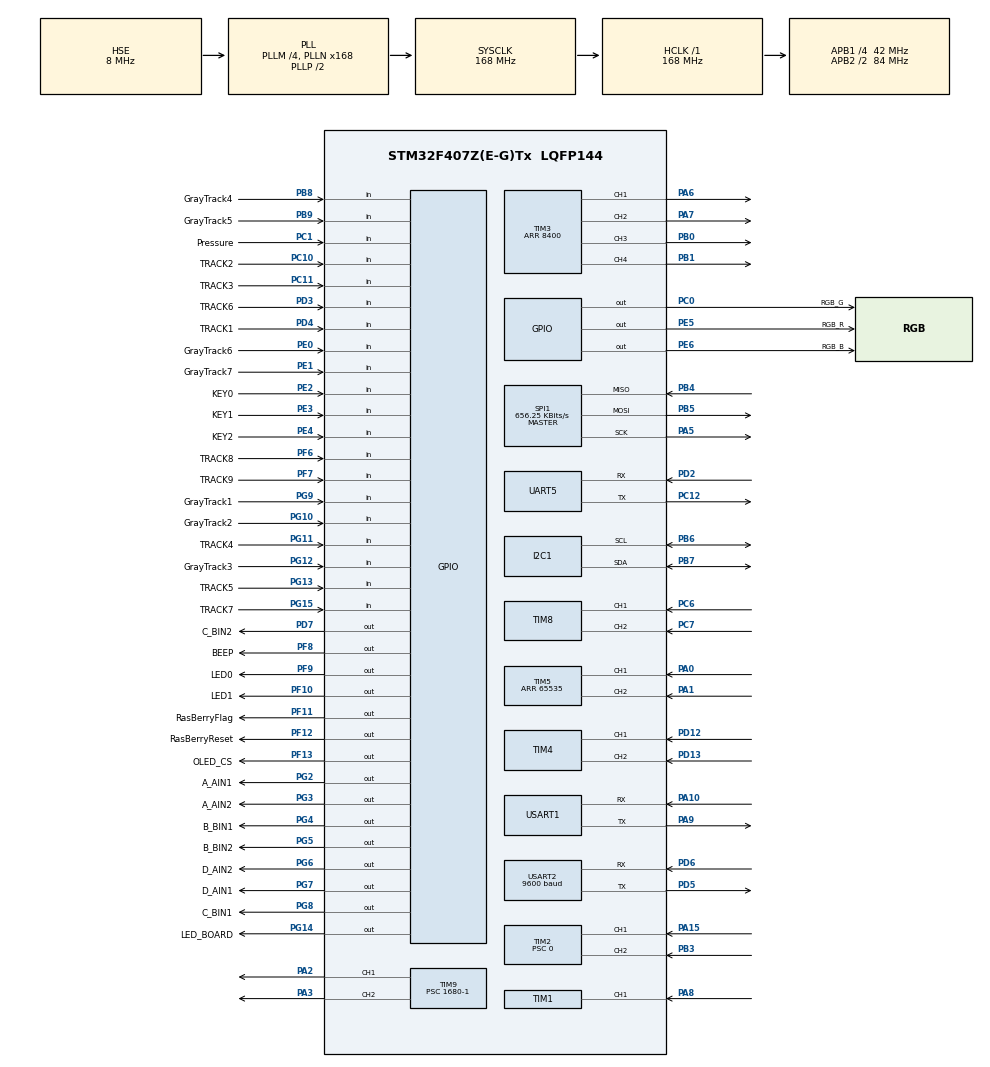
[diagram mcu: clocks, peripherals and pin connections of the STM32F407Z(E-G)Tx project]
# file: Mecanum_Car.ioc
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PG8.GPIO_ModeDefaultOutputPP=GPIO_MODE_OUTPUT_PP
PH0-OSC_IN.Signal=RCC_OSC_IN
PF10.GPIO_ModeDefaultOutputPP=GPIO_MODE_OUTPUT_PP
PG6.PinState=GPIO_PIN_SET
PC10.GPIO_PuPd=GPIO_PULLUP
SPI1.VirtualType=VM_MASTER
PG2.GPIO_PuPd=GPIO_PULLUP
NVIC.TIM6_DAC_IRQn=true\:0\:0\:false\:false\:true\:true\:true
PG8.Signal=GPIO_Output
PG4.Signal=GPIO_Output
PC12.Signal=UART5_TX
PG6.GPIO_Label=D_AIN2
PC0.GPIO_ModeDefaultOutputPP=GPIO_MODE_OUTPUT_PP
PG5.GPIO_ModeDefaultOutputPP=GPIO_MODE_OUTPUT_PP
PF10.GPIO_PuPd=GPIO_PULLDOWN
PG10.GPIO_PuPd=GPIO_PULLUP
PG13.Signal=GPIO_Input
PF8.PinState=GPIO_PIN_RESET
PB3.GPIO_Speed=GPIO_SPEED_FREQ_VERY_HIGH
TIM3.Channel-PWM\ Generation4\ CH4=TIM_CHANNEL_4
PE6.GPIO_Label=RGB_B
PF6.GPIO_Label=TRACK8
Dma.USART2_RX.1.MemDataAlignment=DMA_MDATAALIGN_BYTE
RCC.SYSCLKSource=RCC_SYSCLKSOURCE_PLLCLK
PG13.GPIO_Mode=GPIO_MODE_INPUT
PG15.GPIO_Label=TRACK7
PF7.Signal=GPIO_Input
PD7.GPIO_PuPd=GPIO_PULLUP
SPI1.Direction=SPI_DIRECTION_2LINES
PG14.GPIO_ModeDefaultOutputPP=GPIO_MODE_OUTPUT_PP
PG2.GPIO_ModeDefaultOutputPP=GPIO_MODE_OUTPUT_PP
PD4.Signal=GPIO_Input
RCC.APB2TimFreq_Value=168000000
PB6.Signal=I2C1_SCL
PC7.Signal=S_TIM8_CH2
PB6.Mode=I2C
Dma.USART2_RX.1.PeriphInc=DMA_PINC_DISABLE
SPI1.CalculateBaudRate=656.25 KBits/s
PE5.Signal=GPIO_Output
PE1.Signal=GPIO_Input
PA1.GPIO_PuPd=GPIO_PULLUP
PF10.GPIO_Label=LED1
TIM3.Pulse-PWM\ Generation3\ CH3=2000
PC1.GPIO_PuPd=GPIO_PULLDOWN
PF12.GPIO_Label=RasBerryReset
PG6.GPIO_PuPd=GPIO_PULLUP
PE4.GPIO_Label=KEY2
PG4.GPIO_Label=B_BIN1
PC7.GPIO_ModeDefaultPP=GPIO_MODE_AF_PP
SH.S_TIM4_CH2.0=TIM4_CH2,Encoder_Interface
PE2.Signal=GPIO_Input
PA8.Signal=S_TIM1_CH1
TIM9.Prescaler=1680-1
Mcu.Package=LQFP144
PB9.Signal=GPIO_Input
TIM2.Prescaler=0
PB1.Signal=S_TIM3_CH4
PD12.Signal=S_TIM4_CH1
PA10.Signal=USART1_RX
PB9.GPIO_PuPd=GPIO_PULLUP
PC6.GPIO_PuPd=GPIO_PULLUP
PG8.GPIO_Speed=GPIO_SPEED_FREQ_HIGH
RCC.APB2CLKDivider=RCC_HCLK_DIV2
NVIC.DMA2_Stream2_IRQn=true\:0\:0\:true\:false\:true\:false\:true
SH.S_TIM4_CH1.0=TIM4_CH1,Encoder_Interface
PG12.GPIO_PuPd=GPIO_PULLUP
RCC.APB1TimFreq_Value=84000000
TIM3.Pulse-PWM\ Generation2\ CH2=2000
PD3.GPIO_PuPd=GPIO_PULLUP
PF9.GPIO_PuPd=GPIO_PULLDOWN
NVIC.USART1_IRQn=true\:0\:0\:false\:false\:true\:true\:true
PE6.GPIO_PuPd=GPIO_PULLUP
PE6.GPIO_Speed=GPIO_SPEED_FREQ_VERY_HIGH
PC6.GPIO_Speed=GPIO_SPEED_FREQ_VERY_HIGH
PC0.PinState=GPIO_PIN_RESET
TIM9.Period=100-1
PG6.GPIO_Speed=GPIO_SPEED_FREQ_HIGH
PA5.Mode=Full_Duplex_Master
PG12.Signal=GPIO_Input
TIM9.Channel-PWM\ Generation2\ CH2=TIM_CHANNEL_2
TIM9.Channel-PWM\ Generation1\ CH1=TIM_CHANNEL_1
Dma.USART2_RX.1.Priority=DMA_PRIORITY_LOW
Dma.USART2_RX.1.FIFOMode=DMA_FIFOMODE_DISABLE
TIM3.AutoReloadPreload=TIM_AUTORELOAD_PRELOAD_ENABLE
PG9.GPIO_PuPd=GPIO_PULLUP
PG5.Signal=GPIO_Output
PG9.Signal=GPIO_Input
PD3.Signal=GPIO_Input
PB8.GPIO_PuPd=GPIO_PULLUP
PC6.Signal=S_TIM8_CH1
PD7.Signal=GPIO_Output
PE1.GPIO_PuPd=GPIO_PULLUP
UART5.VirtualMode=Asynchronous
PC0.Signal=GPIO_Output
RCC.APB1CLKDivider=RCC_HCLK_DIV4
PD6.Mode=Asynchronous
PF13.GPIO_Label=OLED_CS
PG13.GPIO_Label=TRACK5
Dma.UART5_RX.2.MemInc=DMA_MINC_ENABLE
USART2.BaudRate=9600
SH.S_TIM8_CH2.0=TIM8_CH2,Encoder_Interface
PA0-WKUP.Signal=S_TIM5_CH1
PG10.Signal=GPIO_Input
PF8.GPIO_Label=BEEP
PG8.GPIO_PuPd=GPIO_PULLUP
TIM9.Pulse-PWM\ Generation2\ CH2=500
PF11.GPIO_Speed=GPIO_SPEED_FREQ_VERY_HIGH
TIM3.Channel-PWM\ Generation3\ CH3=TIM_CHANNEL_3
PC10.GPIO_Mode=GPIO_MODE_INPUT
PB8.GPIO_Label=GrayTrack4
TIM3.Pulse-PWM\ Generation1\ CH1=2000
PG2.PinState=GPIO_PIN_SET
PG5.PinState=GPIO_PIN_SET
SH.S_TIM9_CH2.0=TIM9_CH2,PWM Generation2 CH2
Dma.USART1_RX.0.Direction=DMA_PERIPH_TO_MEMORY
PA9.Signal=USART1_TX
PG7.PinState=GPIO_PIN_SET
PC7.GPIO_PuPd=GPIO_PULLUP
Dma.USART1_RX.0.PeriphInc=DMA_PINC_DISABLE
Dma.USART2_RX.1.Instance=DMA1_Stream5
Dma.USART2_RX.1.Direction=DMA_PERIPH_TO_MEMORY
PE2.GPIO_PuPd=GPIO_PULLUP
PA5.Signal=SPI1_SCK
PD7.PinState=GPIO_PIN_SET
SH.S_TIM8_CH1.0=TIM8_CH1,Encoder_Interface
PC12.Mode=Asynchronous
Dma.USART2_RX.1.PeriphDataAlignment=DMA_PDATAALIGN_BYTE
TIM8.AutoReloadPreload=TIM_AUTORELOAD_PRELOAD_ENABLE
PB3.GPIO_ModeDefaultPP=GPIO_MODE_AF_PP
PE1.GPIO_Label=GrayTrack7
TIM9.AutoReloadPreload=TIM_AUTORELOAD_PRELOAD_ENABLE
PF13.GPIO_PuPd=GPIO_PULLDOWN
PG11.GPIO_Mode=GPIO_MODE_INPUT
SPI1.Mode=SPI_MODE_MASTER
PF12.GPIO_Speed=GPIO_SPEED_FREQ_VERY_HIGH
PG7.GPIO_Label=D_AIN1
PC11.GPIO_Mode=GPIO_MODE_INPUT
SH.S_TIM9_CH1.0=TIM9_CH1,PWM Generation1 CH1
PE3.GPIO_PuPd=GPIO_PULLUP
PF13.Signal=GPIO_Output
TIM2.Period=65535
PG14.GPIO_PuPd=GPIO_PULLUP
PA13.Mode=Serial_Wire
PG14.GPIO_Label=LED_BOARD
NVIC.TIM1_BRK_TIM9_IRQn=true\:0\:0\:false\:false\:true\:true\:true
TIM9.Pulse-PWM\ Generation1\ CH1=500
PE4.GPIO_PuPd=GPIO_PULLUP
PF7.GPIO_PuPd=GPIO_PULLUP
NVIC.TIM1_CC_IRQn=true\:0\:0\:false\:false\:true\:true\:true
PG7.GPIO_ModeDefaultOutputPP=GPIO_MODE_OUTPUT_PP
PB5.Signal=SPI1_MOSI
TIM1.Channel-Input_Capture1_from_TI1=TIM_CHANNEL_1
PE5.GPIO_Label=RGB_R
USART1.VirtualMode=VM_ASYNC
SH.S_TIM2_CH1_ETR.0=TIM2_CH1,Encoder_Interface
ProjectManager.HeapSize=0x200
Dma.UART5_RX.2.Mode=DMA_CIRCULAR
PA0-WKUP.GPIO_ModeDefaultPP=GPIO_MODE_AF_PP
NVIC.TIM1_UP_TIM10_IRQn=true\:0\:0\:false\:false\:true\:true\:true
PF9.Signal=GPIO_Output
PF9.GPIO_ModeDefaultOutputPP=GPIO_MODE_OUTPUT_PP
NVIC.PriorityGroup=NVIC_PRIORITYGROUP_4
Dma.UART5_RX.2.Direction=DMA_PERIPH_TO_MEMORY
TIM3.Channel-PWM\ Generation2\ CH2=TIM_CHANNEL_2
PF6.GPIO_PuPd=GPIO_PULLUP
PE3.Signal=GPIO_Input
PF12.GPIO_PuPd=GPIO_PULLUP
TIM2.AutoReloadPreload=TIM_AUTORELOAD_PRELOAD_ENABLE
PA0-WKUP.GPIO_PuPd=GPIO_PULLUP
PG3.GPIO_Label=A_AIN2
PD2.Signal=UART5_RX
PG5.GPIO_Speed=GPIO_SPEED_FREQ_HIGH
PF10.PinState=GPIO_PIN_SET
PB0.Signal=S_TIM3_CH3
PC1.Signal=GPIO_Input
PG10.GPIO_Label=GrayTrack2
PG15.GPIO_PuPd=GPIO_PULLUP
Mcu.Family=STM32F4
RCC.CortexFreq_Value=168000000
PG6.Signal=GPIO_Output
Dma.UART5_RX.2.Instance=DMA1_Stream0
PG2.Signal=GPIO_Output
PC10.Signal=GPIO_Input
TIM4.EncoderMode=TIM_ENCODERMODE_TI12
TIM5.EncoderMode=TIM_ENCODERMODE_TI12
SH.S_TIM5_CH2.0=TIM5_CH2,Encoder_Interface
PC0.GPIO_Label=RGB_G
TIM8.EncoderMode=TIM_ENCODERMODE_TI12
PF9.GPIO_Speed=GPIO_SPEED_FREQ_HIGH
TIM2.EncoderMode=TIM_ENCODERMODE_TI12
PG5.GPIO_Label=B_BIN2
PG11.Signal=GPIO_Input
PG15.Signal=GPIO_Input
ProjectManager.StackSize=0x400
PG2.GPIO_Speed=GPIO_SPEED_FREQ_HIGH
PG3.GPIO_PuPd=GPIO_PULLUP
PD13.Signal=S_TIM4_CH2
PC11.GPIO_PuPd=GPIO_PULLUP
PG14.PinState=GPIO_PIN_RESET
TIM1.Prescaler=168-1
PE5.GPIO_PuPd=GPIO_PULLUP
PF11.GPIO_PuPd=GPIO_PULLUP
PA1.GPIO_ModeDefaultPP=GPIO_MODE_AF_PP
PC6.GPIO_ModeDefaultPP=GPIO_MODE_AF_PP
PG11.GPIO_PuPd=GPIO_PULLUP
PG3.GPIO_ModeDefaultOutputPP=GPIO_MODE_OUTPUT_PP
RCC.HCLKFreq_Value=168000000
TIM3.Period=8400
PF13.GPIO_Speed=GPIO_SPEED_FREQ_HIGH
PF11.GPIO_Label=RasBerryFlag
PF12.Signal=GPIO_Output
PG5.GPIO_PuPd=GPIO_PULLUP
Dma.USART2_RX.1.MemInc=DMA_MINC_ENABLE
PA15.GPIO_ModeDefaultPP=GPIO_MODE_AF_PP
RCC.AHBFreq_Value=168000000
PH0-OSC_IN.Mode=HSE-External-Oscillator
Dma.USART1_RX.0.Priority=DMA_PRIORITY_VERY_HIGH
PD4.GPIO_Mode=GPIO_MODE_INPUT
PD5.Mode=Asynchronous
TIM3.Channel-PWM\ Generation1\ CH1=TIM_CHANNEL_1
RCC.HSE_VALUE=8000000
PA0-WKUP.GPIO_Speed=GPIO_SPEED_FREQ_VERY_HIGH
PG13.GPIO_PuPd=GPIO_PULLUP
PD7.GPIO_Speed=GPIO_SPEED_FREQ_HIGH
PB3.GPIO_PuPd=GPIO_PULLUP
PB4.Mode=Full_Duplex_Master
PF7.GPIO_Label=TRACK9
PG4.GPIO_Speed=GPIO_SPEED_FREQ_HIGH
PF8.GPIO_PuPd=GPIO_PULLDOWN
PA14.Mode=Serial_Wire
Dma.UART5_RX.2.Priority=DMA_PRIORITY_LOW
PF11.Signal=GPIO_Output
PE6.GPIO_ModeDefaultOutputPP=GPIO_MODE_OUTPUT_PP
PC11.GPIO_Label=TRACK3
PB5.Mode=Full_Duplex_Master
PF11.PinState=GPIO_PIN_RESET
PG7.GPIO_PuPd=GPIO_PULLUP
PB7.Signal=I2C1_SDA
SH.S_TIM3_CH1.0=TIM3_CH1,PWM Generation1 CH1
TIM6.Period=10000-1
Dma.USART1_RX.0.MemInc=DMA_MINC_ENABLE
PE4.Signal=GPIO_Input
Dma.UART5_RX.2.PeriphInc=DMA_PINC_DISABLE
PD7.GPIO_Label=C_BIN2
PG6.GPIO_ModeDefaultOutputPP=GPIO_MODE_OUTPUT_PP
PH1-OSC_OUT.Mode=HSE-External-Oscillator
PG4.PinState=GPIO_PIN_SET
PA6.Signal=S_TIM3_CH1
USART2.VirtualMode=VM_ASYNC
PA15.Signal=S_TIM2_CH1_ETR
PF8.Signal=GPIO_Output
PD12.GPIO_ModeDefaultPP=GPIO_MODE_AF_PP
PE0.GPIO_Label=GrayTrack6
Dma.USART1_RX.0.FIFOMode=DMA_FIFOMODE_DISABLE
PG8.PinState=GPIO_PIN_SET
Dma.Request2=UART5_RX
Dma.Request1=USART2_RX
SH.S_TIM5_CH1.0=TIM5_CH1,Encoder_Interface
Dma.USART1_RX.0.Mode=DMA_CIRCULAR
NVIC.DMA1_Stream0_IRQn=true\:0\:0\:false\:false\:true\:false\:true
PG11.GPIO_Label=TRACK4
PD3.GPIO_Label=TRACK6
PC0.GPIO_PuPd=GPIO_PULLUP
PD6.Signal=USART2_RX
Dma.USART2_RX.1.Mode=DMA_CIRCULAR
Dma.Request0=USART1_RX
SPI1.BaudRatePrescaler=SPI_BAUDRATEPRESCALER_128
PE2.GPIO_Label=KEY0
Dma.USART1_RX.0.Instance=DMA2_Stream2
Dma.UART5_RX.2.FIFOMode=DMA_FIFOMODE_DISABLE
PB4.Signal=SPI1_MISO
PG2.GPIO_Label=A_AIN1
PA3.Signal=S_TIM9_CH2
PE0.GPIO_PuPd=GPIO_PULLUP
RCC.PLLSourceVirtual=RCC_PLLSOURCE_HSE
TIM4.AutoReloadPreload=TIM_AUTORELOAD_PRELOAD_ENABLE
PD12.GPIO_Speed=GPIO_SPEED_FREQ_VERY_HIGH
PD13.GPIO_ModeDefaultPP=GPIO_MODE_AF_PP
PG7.Signal=GPIO_Output
Dma.USART1_RX.0.PeriphDataAlignment=DMA_PDATAALIGN_BYTE
PB9.GPIO_Label=GrayTrack5
PA10.Mode=Asynchronous
PC10.GPIO_Label=TRACK2
PG4.GPIO_ModeDefaultOutputPP=GPIO_MODE_OUTPUT_PP
PG3.Signal=GPIO_Output
PC11.Signal=GPIO_Input
TIM6.Prescaler=840-1
PF10.GPIO_Speed=GPIO_SPEED_FREQ_HIGH
VP_TIM6_VS_ClockSourceINT.Mode=Enable_Timer
PD5.Signal=USART2_TX
SH.S_TIM3_CH3.0=TIM3_CH3,PWM Generation3 CH3
NVIC.USART2_IRQn=true\:0\:0\:true\:false\:true\:true\:true
TIM5.AutoReloadPreload=TIM_AUTORELOAD_PRELOAD_ENABLE
PG8.GPIO_Label=C_BIN1
PA13.Signal=SYS_JTMS-SWDIO
TIM6.AutoReloadPreload=TIM_AUTORELOAD_PRELOAD_ENABLE
PD4.GPIO_PuPd=GPIO_PULLUP
SH.S_TIM2_CH2.0=TIM2_CH2,Encoder_Interface
PA9.Mode=Asynchronous
PC0.GPIO_Speed=GPIO_SPEED_FREQ_VERY_HIGH
SH.S_TIM1_CH1.0=TIM1_CH1,Input_Capture1_from_TI1
PF6.Signal=GPIO_Input
ProjectManager.TargetToolchain=STM32CubeIDE
NVIC.DMA1_Stream5_IRQn=true\:0\:0\:false\:false\:true\:false\:true
PF9.PinState=GPIO_PIN_SET
PF9.GPIO_Label=LED0
RCC.LSE_VALUE=32768
PA1.Signal=S_TIM5_CH2
PD2.Mode=Asynchronous
PG9.GPIO_Label=GrayTrack1
SH.S_TIM3_CH2.0=TIM3_CH2,PWM Generation2 CH2
PG14.Signal=GPIO_Output
board=custom
PD13.GPIO_Speed=GPIO_SPEED_FREQ_VERY_HIGH
PC7.GPIO_Speed=GPIO_SPEED_FREQ_VERY_HIGH
RCC.VCOOutputFreq_Value=336000000
VP_TIM9_VS_ClockSourceINT.Mode=Internal
PG3.PinState=GPIO_PIN_SET
PG7.GPIO_Speed=GPIO_SPEED_FREQ_HIGH
RCC.APB2Freq_Value=84000000
PD4.GPIO_Label=TRACK1
PF10.Signal=GPIO_Output
PA1.GPIO_Speed=GPIO_SPEED_FREQ_VERY_HIGH
PC1.GPIO_Label=Pressure
PH1-OSC_OUT.Signal=RCC_OSC_OUT
Dma.USART1_RX.0.MemDataAlignment=DMA_MDATAALIGN_BYTE
PD13.GPIO_PuPd=GPIO_PULLUP
PE6.Signal=GPIO_Output
Mcu.Name=STM32F407Z(E-G)Tx
PE0.Signal=GPIO_Input
PA2.Signal=S_TIM9_CH1
RCC.48MHZClocksFreq_Value=84000000
PB3.Signal=S_TIM2_CH2
RCC.SYSCLKFreq_VALUE=168000000
PA15.GPIO_Speed=GPIO_SPEED_FREQ_VERY_HIGH
PB7.Mode=I2C
PG3.GPIO_Speed=GPIO_SPEED_FREQ_HIGH
PA14.Signal=SYS_JTCK-SWCLK
PG4.GPIO_PuPd=GPIO_PULLUP
PG12.GPIO_Label=GrayTrack3
RCC.HSI_VALUE=16000000
RCC.PLLM=4
RCC.PLLN=168
PF8.GPIO_Speed=GPIO_SPEED_FREQ_HIGH
PA15.GPIO_PuPd=GPIO_PULLUP
PE5.GPIO_Speed=GPIO_SPEED_FREQ_VERY_HIGH
PB8.Signal=GPIO_Input
PE3.GPIO_Label=KEY1
TIM5.Period=65535
RCC.APB1Freq_Value=42000000
PG14.GPIO_Speed=GPIO_SPEED_FREQ_VERY_HIGH
PD7.GPIO_ModeDefaultOutputPP=GPIO_MODE_OUTPUT_PP
TIM3.Pulse-PWM\ Generation4\ CH4=2000
Dma.UART5_RX.2.PeriphDataAlignment=DMA_PDATAALIGN_BYTE
Dma.UART5_RX.2.MemDataAlignment=DMA_MDATAALIGN_BYTE
PD12.GPIO_PuPd=GPIO_PULLUP
SH.S_TIM3_CH4.0=TIM3_CH4,PWM Generation4 CH4
PA7.Signal=S_TIM3_CH2

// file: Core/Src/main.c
/* USER CODE BEGIN Header */
/**
  ******************************************************************************
  * @file           : main.c
  * @brief          : Main program body
  ******************************************************************************
  * @attention
  *
  * <h2><center>&copy; Copyright (c) 2021 STMicroelectronics.
  * All rights reserved.</center></h2>
  *
  * This software component is licensed by ST under BSD 3-Clause license,
  * the "License"; You may not use this file except in compliance with the
  * License. You may obtain a copy of the License at:
  *                        opensource.org/licenses/BSD-3-Clause
  *
  ******************************************************************************
  */
/* USER CODE END Header */
#include "main.h"
#include "dma.h"
#include "i2c.h"
#include "spi.h"
#include "tim.h"
#include "usart.h"
#include "gpio.h"

/* USER CODE BEGIN Includes */
#include "app_main.h"
/* USER CODE END Includes */

/* USER CODE BEGIN PD */
#define BUFFER_SIZE 32
/* USER CODE END PD */

/* USER CODE BEGIN PV */
uint8_t receive_buff[BUFFER_SIZE ] = {0}; //数据接收缓存�???????
uint8_t ReceiveTrackBuffer[32] = {0};
//每次接收之后将缓存区中的数据写入coordinate中，并将缓存区清�???????
uint16_t coordinate_XY[32][2] = {0};
uint16_t TrackInfo[32][8] = {0};
/* USER CODE END PV */

void SystemClock_Config(void);

int main(void)
{

  /* MCU Configuration--------------------------------------------------------*/

  /* Reset of all peripherals, Initializes the Flash interface and the Systick. */
  HAL_Init();

  /* Configure the system clock */
  SystemClock_Config();

  /* Initialize all configured peripherals */
  MX_GPIO_Init();
  MX_DMA_Init();
  MX_USART1_UART_Init();
  MX_TIM8_Init();
  MX_TIM6_Init();
  MX_TIM2_Init();
  MX_TIM3_Init();
  MX_TIM4_Init();
  MX_TIM1_Init();
  MX_I2C1_Init();
  MX_SPI1_Init();
  MX_TIM5_Init();
  MX_USART2_UART_Init();
  MX_TIM9_Init();
  MX_UART5_Init();
  /* USER CODE BEGIN 2 */
   app_main_init();
  /* USER CODE END 2 */

  /* Infinite loop */
  /* USER CODE BEGIN WHILE */
//   printf("start\r\n");
  while (1)
  {
	  app_main();
    /* USER CODE END WHILE */

  }
}

void SystemClock_Config(void)
{
  RCC_OscInitTypeDef RCC_OscInitStruct = {0};
  RCC_ClkInitTypeDef RCC_ClkInitStruct = {0};

  /** Configure the main internal regulator output voltage
  */
  __HAL_RCC_PWR_CLK_ENABLE();
  __HAL_PWR_VOLTAGESCALING_CONFIG(PWR_REGULATOR_VOLTAGE_SCALE1);
  /** Initializes the RCC Oscillators according to the specified parameters
  * in the RCC_OscInitTypeDef structure.
  */
  RCC_OscInitStruct.OscillatorType = RCC_OSCILLATORTYPE_HSE;
  RCC_OscInitStruct.HSEState = RCC_HSE_ON;
  RCC_OscInitStruct.PLL.PLLState = RCC_PLL_ON;
  RCC_OscInitStruct.PLL.PLLSource = RCC_PLLSOURCE_HSE;
  RCC_OscInitStruct.PLL.PLLM = 4;
  RCC_OscInitStruct.PLL.PLLN = 168;
  RCC_OscInitStruct.PLL.PLLP = RCC_PLLP_DIV2;
  RCC_OscInitStruct.PLL.PLLQ = 4;
  if (HAL_RCC_OscConfig(&RCC_OscInitStruct) != HAL_OK)
  {
    Error_Handler();
  }
  /** Initializes the CPU, AHB and APB buses clocks
  */
  RCC_ClkInitStruct.ClockType = RCC_CLOCKTYPE_HCLK|RCC_CLOCKTYPE_SYSCLK
                              |RCC_CLOCKTYPE_PCLK1|RCC_CLOCKTYPE_PCLK2;
  RCC_ClkInitStruct.SYSCLKSource = RCC_SYSCLKSOURCE_PLLCLK;
  RCC_ClkInitStruct.AHBCLKDivider = RCC_SYSCLK_DIV1;
  RCC_ClkInitStruct.APB1CLKDivider = RCC_HCLK_DIV4;
  RCC_ClkInitStruct.APB2CLKDivider = RCC_HCLK_DIV2;

  if (HAL_RCC_ClockConfig(&RCC_ClkInitStruct, FLASH_LATENCY_5) != HAL_OK)
  {
    Error_Handler();
  }
}

/* USER CODE BEGIN 4 */
/**
 * @brief 微秒级延时，参�?�F103的库实现
 * @retval None
 */
void delay_us(uint32_t duration) {
  //见stm32f1xx_hal_rcc.c -- static void RCC_Delay(uint32_t mdelay)
  __IO uint32_t Delay = duration * (SystemCoreClock / 8U / 1000000U);
  do {
	__NOP();
  } while (Delay--);
}
void beep_start()
{
	HAL_GPIO_TogglePin(BEEP_GPIO_Port, BEEP_Pin);
	HAL_Delay(500);
	HAL_GPIO_TogglePin(BEEP_GPIO_Port, BEEP_Pin);
	HAL_Delay(500);
	HAL_GPIO_TogglePin(BEEP_GPIO_Port, BEEP_Pin);
	HAL_Delay(500);
	HAL_GPIO_TogglePin(BEEP_GPIO_Port, BEEP_Pin);
	HAL_Delay(500);
	HAL_GPIO_TogglePin(BEEP_GPIO_Port, BEEP_Pin);
	HAL_Delay(500);
	HAL_GPIO_TogglePin(BEEP_GPIO_Port, BEEP_Pin);
}

/* USER CODE END 4 */

void Error_Handler(void)
{
  __disable_irq();
  while (1)
  {
  }
}

/************************ (C) COPYRIGHT STMicroelectronics *****END OF FILE****/
